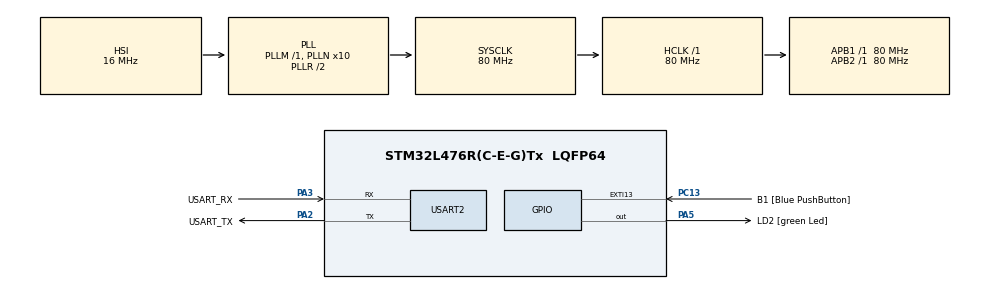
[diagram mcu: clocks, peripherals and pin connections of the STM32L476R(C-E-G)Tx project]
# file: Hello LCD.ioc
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Mcu.Family=STM32L4
Mcu.Name=STM32L476R(C-E-G)Tx
Mcu.Package=LQFP64
NVIC.PriorityGroup=NVIC_PRIORITYGROUP_4
PA13\ (JTMS-SWDIO).GPIO_Label=TMS
PA13\ (JTMS-SWDIO).Mode=Serial_Wire
PA13\ (JTMS-SWDIO).Signal=SYS_JTMS-SWDIO
PA14\ (JTCK-SWCLK).GPIO_Label=TCK
PA14\ (JTCK-SWCLK).Mode=Serial_Wire
PA14\ (JTCK-SWCLK).Signal=SYS_JTCK-SWCLK
PA2.GPIO_Label=USART_TX
PA2.GPIO_Mode=GPIO_MODE_AF_PP
PA2.GPIO_PuPd=GPIO_NOPULL
PA2.GPIO_Speed=GPIO_SPEED_FREQ_VERY_HIGH
PA2.Mode=Asynchronous
PA2.Signal=USART2_TX
PA3.GPIO_Label=USART_RX
PA3.GPIO_Mode=GPIO_MODE_AF_PP
PA3.GPIO_PuPd=GPIO_NOPULL
PA3.GPIO_Speed=GPIO_SPEED_FREQ_VERY_HIGH
PA3.Mode=Asynchronous
PA3.Signal=USART2_RX
PA5.GPIO_Label=LD2 [green Led]
PA5.GPIO_ModeDefaultOutputPP=GPIO_MODE_OUTPUT_PP
PA5.GPIO_PuPd=GPIO_NOPULL
PA5.GPIO_Speed=GPIO_SPEED_FREQ_LOW
PA5.Signal=GPIO_Output
PB3\ (JTDO-TRACESWO).GPIO_Label=SWO
PB3\ (JTDO-TRACESWO).Signal=SYS_JTDO-SWO
PC13.GPIO_Label=B1 [Blue PushButton]
PC13.GPIO_ModeDefaultEXTI=GPIO_MODE_IT_FALLING
PC13.GPIO_PuPd=GPIO_NOPULL
PC13.Signal=GPXTI13
PC14-OSC32_IN\ (PC14).Mode=LSE-External-Oscillator
PC14-OSC32_IN\ (PC14).Signal=RCC_OSC32_IN
PC15-OSC32_OUT\ (PC15).Mode=LSE-External-Oscillator
PC15-OSC32_OUT\ (PC15).Signal=RCC_OSC32_OUT
PH0-OSC_IN\ (PH0).Signal=RCC_OSC_IN
PH1-OSC_OUT\ (PH1).Signal=RCC_OSC_OUT
ProjectManager.HeapSize=0x200
ProjectManager.StackSize=0x400
ProjectManager.TargetToolchain=STM32CubeIDE
RCC.ADCFreq_Value=64000000
RCC.AHBFreq_Value=80000000
RCC.APB1Freq_Value=80000000
RCC.APB1TimFreq_Value=80000000
RCC.APB2Freq_Value=80000000
RCC.APB2TimFreq_Value=80000000
RCC.CortexFreq_Value=80000000
RCC.HCLKFreq_Value=80000000
RCC.HSE_VALUE=8000000
RCC.HSI_VALUE=16000000
RCC.MSI_VALUE=4000000
RCC.PLLN=10
RCC.PLLSourceVirtual=RCC_PLLSOURCE_HSI
RCC.PREFETCH_ENABLE=1
RCC.SYSCLKFreq_VALUE=80000000
RCC.SYSCLKSource=RCC_SYSCLKSOURCE_PLLCLK
RCC.USBFreq_Value=64000000
RCC.VCOOutputFreq_Value=160000000
USART2.VirtualMode-Asynchronous=VM_ASYNC
board=NUCLEO-L476RG

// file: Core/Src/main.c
/* USER CODE BEGIN Header */
/**
 ******************************************************************************
 * @file           : main.c
 * @brief          : Main program body
 ******************************************************************************
 * @attention
 *
 * <h2><center>&copy; Copyright (c) 2023 STMicroelectronics.
 * All rights reserved.</center></h2>
 *
 * This software component is licensed by ST under BSD 3-Clause license,
 * the "License"; You may not use this file except in compliance with the
 * License. You may obtain a copy of the License at:
 *                        opensource.org/licenses/BSD-3-Clause
 *
 ******************************************************************************
 */
/* USER CODE END Header */
#include "main.h"

/* USER CODE BEGIN Includes */
#include "hal_lcd.h"
/* USER CODE END Includes */

UART_HandleTypeDef huart2;

void SystemClock_Config(void);
static void MX_GPIO_Init(void);
static void MX_USART2_UART_Init(void);

int main(void) {

	/* MCU Configuration--------------------------------------------------------*/

	/* Reset of all peripherals, Initializes the Flash interface and the Systick. */
	HAL_Init();

	/* Configure the system clock */
	SystemClock_Config();

	/* Initialize all configured peripherals */
	MX_GPIO_Init();
	MX_USART2_UART_Init();
	/* USER CODE BEGIN 2 */

	HAL_LCD_GPIO_t pins;
	pins.PORT_D4 = GPIOA;      //D2
	pins.PIN_D4 = GPIO_PIN_10; //D2
	pins.PORT_D5 = GPIOB;      //D3
	pins.PIN_D5 = GPIO_PIN_3; //D3
	pins.PORT_D6 = GPIOB;      //D4
	pins.PIN_D6 = GPIO_PIN_5; //D4
	pins.PORT_D7 = GPIOB;      //D5
	pins.PIN_D7 = GPIO_PIN_4; //D5
	pins.PORT_EN = GPIOB;      //D6
	pins.PIN_EN = GPIO_PIN_10; //D6
	pins.PORT_RS = GPIOA;      //D7
	pins.PIN_RS = GPIO_PIN_8; //D7

	HAL_LCD_Initialize(&pins, LCD_COMMAND_5x8DOTS, LCD_COMMAND_4BITMODE, 2);
	HAL_LCD_Position(0, LCD_LINE1);
	HAL_LCD_ConstString("     HELLO      ");
	HAL_LCD_Update();
	HAL_LCD_Position(0, LCD_LINE2);
	HAL_LCD_ConstString("     WORLD!     ");
	HAL_LCD_Update();
	HAL_Delay(5000);

	uint8_t number = 0;

	/* USER CODE END 2 */

	/* Infinite loop */
	while (1) {
		HAL_LCD_Position(12, LCD_LINE2);
		HAL_LCD_Char((char) ('0' + number++));
		HAL_LCD_Update();
		if (number > 9)
			number = 0;
		HAL_Delay(1000);
	}
}

void SystemClock_Config(void) {
	RCC_OscInitTypeDef RCC_OscInitStruct = { 0 };
	RCC_ClkInitTypeDef RCC_ClkInitStruct = { 0 };
	RCC_PeriphCLKInitTypeDef PeriphClkInit = { 0 };

	/** Initializes the RCC Oscillators according to the specified parameters
	 * in the RCC_OscInitTypeDef structure.
	 */
	RCC_OscInitStruct.OscillatorType = RCC_OSCILLATORTYPE_HSI;
	RCC_OscInitStruct.HSIState = RCC_HSI_ON;
	RCC_OscInitStruct.HSICalibrationValue = RCC_HSICALIBRATION_DEFAULT;
	RCC_OscInitStruct.PLL.PLLState = RCC_PLL_ON;
	RCC_OscInitStruct.PLL.PLLSource = RCC_PLLSOURCE_HSI;
	RCC_OscInitStruct.PLL.PLLM = 1;
	RCC_OscInitStruct.PLL.PLLN = 10;
	RCC_OscInitStruct.PLL.PLLP = RCC_PLLP_DIV7;
	RCC_OscInitStruct.PLL.PLLQ = RCC_PLLQ_DIV2;
	RCC_OscInitStruct.PLL.PLLR = RCC_PLLR_DIV2;
	if (HAL_RCC_OscConfig(&RCC_OscInitStruct) != HAL_OK) {
		Error_Handler();
	}
	/** Initializes the CPU, AHB and APB buses clocks
	 */
	RCC_ClkInitStruct.ClockType = RCC_CLOCKTYPE_HCLK | RCC_CLOCKTYPE_SYSCLK
			| RCC_CLOCKTYPE_PCLK1 | RCC_CLOCKTYPE_PCLK2;
	RCC_ClkInitStruct.SYSCLKSource = RCC_SYSCLKSOURCE_PLLCLK;
	RCC_ClkInitStruct.AHBCLKDivider = RCC_SYSCLK_DIV1;
	RCC_ClkInitStruct.APB1CLKDivider = RCC_HCLK_DIV1;
	RCC_ClkInitStruct.APB2CLKDivider = RCC_HCLK_DIV1;

	if (HAL_RCC_ClockConfig(&RCC_ClkInitStruct, FLASH_LATENCY_4) != HAL_OK) {
		Error_Handler();
	}
	PeriphClkInit.PeriphClockSelection = RCC_PERIPHCLK_USART2;
	PeriphClkInit.Usart2ClockSelection = RCC_USART2CLKSOURCE_PCLK1;
	if (HAL_RCCEx_PeriphCLKConfig(&PeriphClkInit) != HAL_OK) {
		Error_Handler();
	}
	/** Configure the main internal regulator output voltage
	 */
	if (HAL_PWREx_ControlVoltageScaling(PWR_REGULATOR_VOLTAGE_SCALE1)
			!= HAL_OK) {
		Error_Handler();
	}
}

static void MX_USART2_UART_Init(void) {

	huart2.Instance = USART2;
	huart2.Init.BaudRate = 115200;
	huart2.Init.WordLength = UART_WORDLENGTH_8B;
	huart2.Init.StopBits = UART_STOPBITS_1;
	huart2.Init.Parity = UART_PARITY_NONE;
	huart2.Init.Mode = UART_MODE_TX_RX;
	huart2.Init.HwFlowCtl = UART_HWCONTROL_NONE;
	huart2.Init.OverSampling = UART_OVERSAMPLING_16;
	huart2.Init.OneBitSampling = UART_ONE_BIT_SAMPLE_DISABLE;
	huart2.AdvancedInit.AdvFeatureInit = UART_ADVFEATURE_NO_INIT;
	if (HAL_UART_Init(&huart2) != HAL_OK) {
		Error_Handler();
	}

}

static void MX_GPIO_Init(void) {
	GPIO_InitTypeDef GPIO_InitStruct = { 0 };

	/* GPIO Ports Clock Enable */
	__HAL_RCC_GPIOC_CLK_ENABLE();
	__HAL_RCC_GPIOH_CLK_ENABLE();
	__HAL_RCC_GPIOA_CLK_ENABLE();
	__HAL_RCC_GPIOB_CLK_ENABLE();

	/*Configure GPIO pin Output Level */
	HAL_GPIO_WritePin(LD2_GPIO_Port, LD2_Pin, GPIO_PIN_RESET);

	/*Configure GPIO pin : B1_Pin */
	GPIO_InitStruct.Pin = B1_Pin;
	GPIO_InitStruct.Mode = GPIO_MODE_IT_FALLING;
	GPIO_InitStruct.Pull = GPIO_NOPULL;
	HAL_GPIO_Init(B1_GPIO_Port, &GPIO_InitStruct);

	/*Configure GPIO pin : LD2_Pin */
	GPIO_InitStruct.Pin = LD2_Pin;
	GPIO_InitStruct.Mode = GPIO_MODE_OUTPUT_PP;
	GPIO_InitStruct.Pull = GPIO_NOPULL;
	GPIO_InitStruct.Speed = GPIO_SPEED_FREQ_LOW;
	HAL_GPIO_Init(LD2_GPIO_Port, &GPIO_InitStruct);

}

void Error_Handler(void) {
}

/************************ (C) COPYRIGHT STMicroelectronics *****END OF FILE****/
